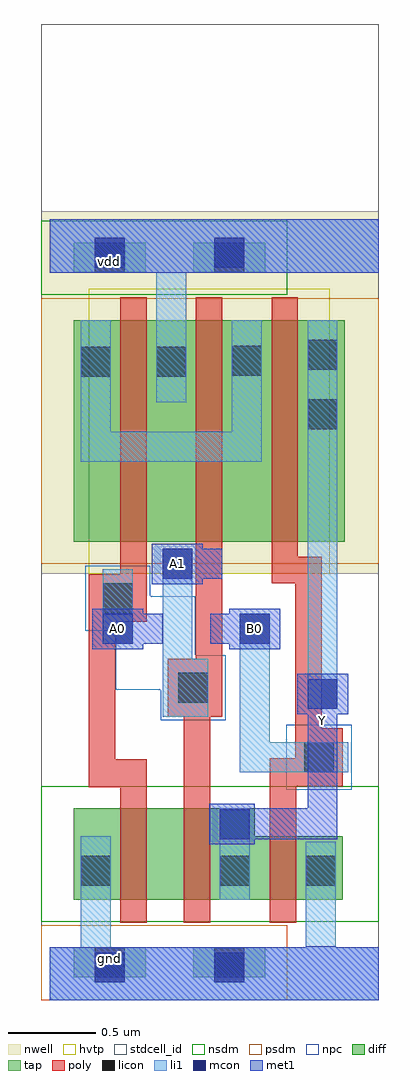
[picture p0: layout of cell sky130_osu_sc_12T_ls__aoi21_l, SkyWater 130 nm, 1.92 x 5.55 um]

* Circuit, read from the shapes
.subckt sky130_osu_sc_12T_ls__aoi21_l A0 A1 B0 Y gnd vdd
XM1 n1 A0 gnd gnd sky130_fd_pr__nfet_01v8 w=0.52 l=0.15
XM2 Y A1 n1 gnd sky130_fd_pr__nfet_01v8 w=0.52 l=0.15
XM3 gnd B0 Y gnd sky130_fd_pr__nfet_01v8 w=0.36 l=0.15
XM4 vdd A0 n2 vdd sky130_fd_pr__pfet_01v8_hvt w=1.26 l=0.15
XM5 n2 A1 vdd vdd sky130_fd_pr__pfet_01v8_hvt w=1.26 l=0.15
XM6 Y B0 n2 vdd sky130_fd_pr__pfet_01v8_hvt w=1.26 l=0.15
.ends

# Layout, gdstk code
import gdstk
lib = gdstk.Library(unit=1e-6, precision=1e-09)
def R(c, l, rs):  # rectangles x0, y0, x1, y1
    for r in rs: c.add(gdstk.rectangle(r[:2], r[2:], *l))
nwell = (64, 20)
diff = (65, 20)
tap = (65, 44)
poly = (66, 20)
licon = (66, 44)
li1 = (67, 20)
mcon = (67, 44)
met1 = (68, 20)
hvtp = (78, 44)
stdcell_id = (81, 4)
nsdm = (93, 44)
psdm = (94, 20)
npc = (95, 20)

sky130_osu_sc_12t_ls__ao = lib.new_cell('sky130_osu_sc_12T_ls__aoi21_l')
R(sky130_osu_sc_12t_ls__ao, nwell, [(-0.05,2.425,1.87,4.485)])
R(sky130_osu_sc_12t_ls__ao, diff, [(0.135,0.57,1.665,0.93), (0.135,0.93,1.165,1.09), (0.135,2.605,1.675,3.865)])
R(sky130_osu_sc_12t_ls__ao, tap, [(0.135,0.13,0.545,0.3), (0.815,0.13,1.225,0.3), (0.135,4.135,0.545,4.305), (0.815,4.135,1.225,4.305)])
R(sky130_osu_sc_12t_ls__ao, poly, [(0.4,0.44,0.55,1.21), (0.76,0.44,0.91,1.61), (1.25,0.44,1.4,1.215), (0.22,1.21,0.55,1.37), (1.25,1.215,1.665,1.375), (0.22,1.37,0.37,2.15), (1.395,1.375,1.665,1.545), (1.395,1.545,1.545,2.37), (0.67,1.61,0.98,1.94), (0.83,1.94,0.98,3.995), (0.22,2.15,0.55,2.42), (1.26,2.37,1.545,2.52), (0.4,2.42,0.55,3.995), (1.26,2.52,1.41,3.995)])
R(sky130_osu_sc_12t_ls__ao, licon, [(0.255,0.13,0.425,0.3), (0.935,0.13,1.105,0.3), (0.175,0.65,0.345,0.82), (0.965,0.65,1.135,0.82), (1.455,0.65,1.625,0.82), (1.445,1.295,1.615,1.465), (0.73,1.69,0.9,1.86), (0.3,2.2,0.47,2.37), (1.465,3.245,1.635,3.415), (0.175,3.545,0.345,3.715), (0.605,3.545,0.775,3.715), (1.035,3.55,1.205,3.72), (1.465,3.585,1.635,3.755), (0.255,4.135,0.425,4.305), (0.935,4.135,1.105,4.305)])
R(sky130_osu_sc_12t_ls__ao, li1, [(0,0,1.87,0.3), (0.175,0.3,0.345,0.93), (1.455,0.3,1.625,0.9), (0.965,0.57,1.135,1.09), (1.08,1.295,1.695,1.465), (1.08,1.465,1.25,2.195), (0.64,1.61,0.9,1.94), (1.465,1.655,1.635,3.865), (0.64,1.94,0.81,2.565), (0.3,2.025,0.47,2.45), (0.175,3.06,1.205,3.23), (0.175,3.23,0.345,3.865), (1.035,3.23,1.205,3.865), (0.605,3.4,0.775,4.135), (0,4.135,1.87,4.44)])
R(sky130_osu_sc_12t_ls__ao, mcon, [(0.255,0.1,0.425,0.27), (0.935,0.1,1.105,0.27), (0.965,0.915,1.135,1.085), (1.465,1.655,1.635,1.825), (0.3,2.025,0.47,2.195), (1.08,2.025,1.25,2.195), (0.64,2.395,0.81,2.565), (0.255,4.165,0.425,4.335), (0.935,4.165,1.105,4.335)])
R(sky130_osu_sc_12t_ls__ao, met1, [(0,0,1.87,0.3), (1.455,0.3,1.625,0.305), (0.905,0.885,1.165,0.915), (0.905,0.915,1.635,1.09), (0.905,1.09,1.165,1.115), (1.465,1.09,1.635,1.625), (1.405,1.625,1.695,1.855), (0.24,1.995,0.53,2.025), (1.02,1.995,1.31,2.025), (0.24,2.025,0.64,2.195), (0.91,2.025,1.31,2.195), (0.24,2.195,0.53,2.225), (1.02,2.195,1.31,2.225), (0.58,2.365,0.87,2.395), (0.58,2.395,0.98,2.565), (0.58,2.565,0.87,2.595), (0,4.135,1.87,4.44)])
R(sky130_osu_sc_12t_ls__ao, hvtp, [(0.22,2.425,1.59,4.045)])
R(sky130_osu_sc_12t_ls__ao, stdcell_id, [(-0.05,0,1.87,5.55)])
R(sky130_osu_sc_12t_ls__ao, nsdm, [(-0.05,0.445,1.87,1.215), (-0.05,4.01,1.35,4.43)])
R(sky130_osu_sc_12t_ls__ao, psdm, [(-0.05,0,1.35,0.425), (-0.05,2.48,1.87,3.99)])
R(sky130_osu_sc_12t_ls__ao, npc, [(1.345,1.195,1.715,1.565), (0.63,1.59,1,1.765), (0.375,1.765,1,1.96), (0.375,1.96,0.825,2.1), (0.2,2.1,0.825,2.295), (0.2,2.295,0.57,2.47)])
sky130_osu_sc_12t_ls__ao.add(gdstk.Label('gnd', (0.34,0.235), layer=68, texttype=16))
sky130_osu_sc_12t_ls__ao.add(gdstk.Label('vdd', (0.34,4.2), layer=68, texttype=16))
sky130_osu_sc_12t_ls__ao.add(gdstk.Label('A1', (0.725,2.48), layer=68, texttype=5))
sky130_osu_sc_12t_ls__ao.add(gdstk.Label('Y', (1.55,1.59), layer=68, texttype=5))
sky130_osu_sc_12t_ls__ao.add(gdstk.Label('A0', (0.385,2.11), layer=68, texttype=5))
sky130_osu_sc_12t_ls__ao.add(gdstk.Label('B0', (1.165,2.11), layer=68, texttype=5))

lib.write_gds('sky130_osu_sc_12T_ls__aoi21_l.gds')
